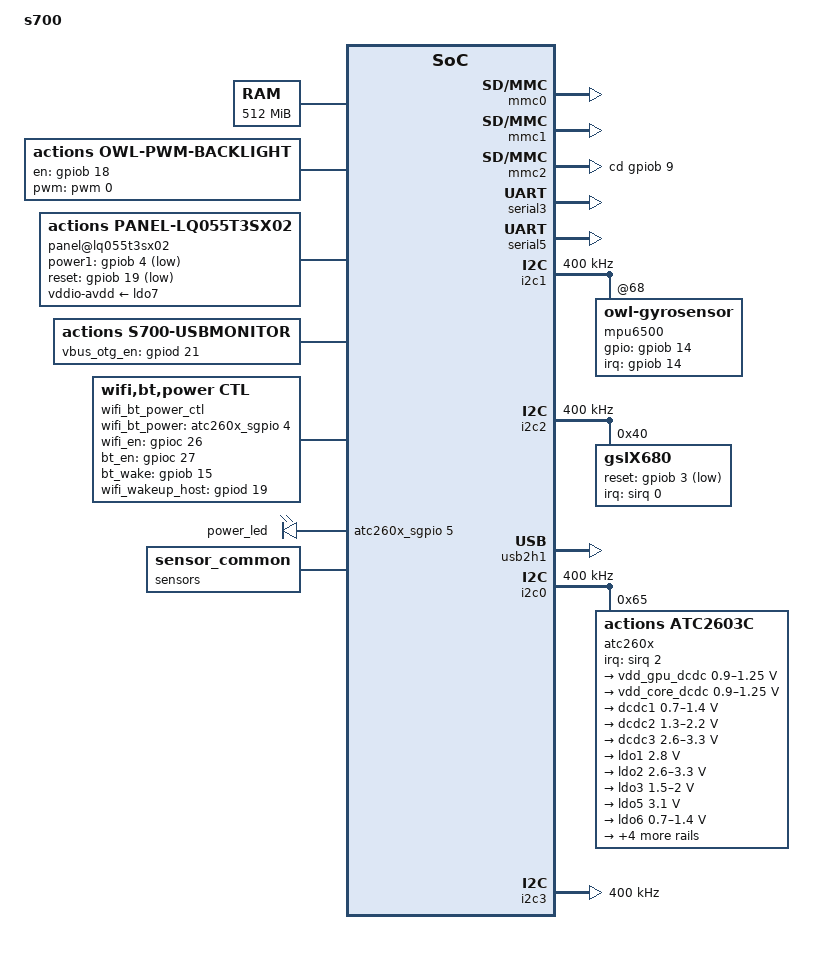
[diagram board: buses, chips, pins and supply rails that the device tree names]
/*
 * Copyright (C) 2014 Actions Semi. Inc
 *
 * This program is free software; you can redistribute it and/or
 * modify it under the terms of the GNU General Public License as
 * published by the Free Software Foundation version 2.
 *
 * This program is distributed "as is" WITHOUT ANY WARRANTY of any
 * kind, whether express or implied; without even the implied warranty
 * of MERCHANTABILITY or FITNESS FOR A PARTICULAR PURPOSE.  See the
 * GNU General Public License for more details.
 */

/dts-v1/;

/* reserve 48MB for logo(fb) */
/memreserve/ 0x19000000 0x03000000;

/* reserve 430MB for ion1(pmem) */
/memreserve/ 0x20000000 0x1AE00000;

/* reserve 4k for afinfo */
/memreserve/ 0x18FFF000 0x1000;

#include "s700.dtsi"

/ {
	model = "s700";
	compatible = "actions,s700";

	chosen {
		bootargs="fb_logo_reserve=0x19000000,0x03000000 console=ttyS3,115200 earlyprintk=serial-owl,0xe0126000 no_console_suspend";
	};

	memory@00000000 {
		device_type = "memory";
		reg = <0 0x00000000 0 0x20000000>;
	};

	ion_config {
		compatible = "actions,s900-ion";
		actions,ion_heap_pmem_base = <0x0 0x20000000>;
		actions,ion_heap_pmem_size = <0x0 0x1AE00000>;
	};

	mmc0: mmc@e0218000 {
		card-type = "emmc";
		status = "okay";
	};

	mmc1: mmc@e0214000 {
		card-type = "wifi";
		//wifi-card-voltage = "1.8v";  /* only: "1.8v", "3.1v",5211 sd1 not support 1.8v */
		status = "okay";
	};

	mmc2: mmc@e0210000 {
		card-type = "memory";  /* only: "memory", "wifi", or "emmc" */
		card-detect-mode = "gpio";  /* only:"gpio", or "command" */
		cd-gpios = <&gpiob 9 0>; /*hr280ac GPIOB9 */
		sd_vcc = "switch1";
		status = "okay";
	};

	serial3: uart@e0126000 {
		dmas = <&dma DMA_DRQ_UART3_TX>, <&dma DMA_DRQ_UART3_RX>;
		dma-names = "tx", "rx";
		status = "okay";
	};
	serial5: uart@e012a000 {
		status = "okay";
	};

	i2c1: i2c@e0174000 {
		clock-frequency = <400000>;
		status = "okay";
		mpu6500@68 {
		compatible = "owl-gyrosensor";
		interrupt-parent = <&gpiob>;
		interrupts = <14>;
		gpios = <&gpiob 14 0>; 
		i2c_adapter_id = <1>;
		/*gyro_vcc = "ldo7";*/
		/*vol_range = <1800000 1810000>;*/
		MASTER_inv6500_position = "-4";
		SECONDARY_ak8963c_position = "-4";
		};
	};

	i2c2: i2c@e0178000 {
	        i2c_num = <2>;
                clock-frequency = <400000>;
		status = "okay";
                gslX680@40 {
                       compatible = "gslX680";
                       reg = <0x40>;
                       tp_vcc = "ldo5";
                       reset_gpios = <&gpiob 3 1>; /*GPIOB(3) 0: reset or sleep, 1: wakeup*/
                       x_pixel = <1920>;
                       y_pixel = <1080>;
                       x_revert_en = <1>;
                       y_revert_en = <0>;
                       xy_swap_en = <0>;
                       rotate_degree = <0>;     /* 0 90 180 270 */
                       interrupt-parent = <&sirq>; 
                       interrupts = < 0 0x4 >; /*SIRQ0 : multiplex GPIOA24*/
                       vol_range = <3100000 3100000>;
               };
	};


	pwm: pwm@e01b0000 {
		pwm0 {
			id = <0>;
			pinctrl-names = "default";
			pinctrl-0 = <&pwm0_state_default>;
		};
		pwm1 {
			id = <1>;
			pinctrl-names = "default";
			pinctrl-0 = <&pwm1_state_default>;
		};
		pwm2 {
			id = <2>;
			pinctrl-names = "default";
			pinctrl-0 = <&pwm2_state_default>;
		};
	};

	backlight {
		compatible = "actions,owl-pwm-backlight";

		/* GPIOB18, active high */
		en-gpios = <&gpiob 18 0>;

		/*1.pwm num; 2. period in ns; */
		/*3.plarity, 0: high active, 1: low active*/
		pwms = <&pwm 0 50000 1>;

		total_steps = <1024>;
		min_brightness = <200>;
		max_brightness = <1000>;
		dft_brightness = <500>;

		delay_bf_pwm = <0>; /*in ms*/
		delay_af_pwm = <20>; /*in ms*/
	};

	dsi: dsi@e0310000 {
		compatible = "actions,s700-dsi", "simple-bus";
		reg = <0 0xe0310000 0 0x88>,
		      <0 0xe0168000 0 0x100>;
		reg-names = "regs", "cmu_base";

		clocks = <&clock CLK_DSI>, <&clock CLK_CSI>;
		clock-names = "dsi", "csi";

		resets = <&reset RESET_DSI>;

		pinctrl-names = "default";
		pinctrl-0 = <&dsi_state_default>;

		panel_configs = <&config0>;

		config0: mipi_configs {
			lcd_mode = <1>;		/* 0: command mode 1: video mode */
			lane_count = <4>;	/* 0: 1, 1: 1~2, 2: 1~3, 3: 1~4 */
			lane_polarity = <0>;	/* 0: normal,1: reversed */
			lane_swap = <0x3210>;	/* sequence of data lines */

			burst_bllp = <60>;	/* 0 ~ 333, just burst mode needed,
						 * It will affect the frame rate */
			video_mode = <0>;	/* 0:sync mode,1:de mode,2:burst mode */
			pclk_rate = <137>;	/* 37MHz, HSCLK, divider X */
		};

		/* sharp lq055t3sx02 */
		panel@lq055t3sx02 {
			compatible = "actions,panel-lq055t3sx02";

			/* panel's fixed info */
			width_mm = <68>;
			height_mm = <121>;
			bpp = <24>;

			is_primary = <1>;

			/* operation delay in ms */
			power_on_delay = <10>;
			power_off_delay = <0>;
			enable_delay = <10>;
			disable_delay = <0>;

			vddio-avdd-supply = <&ldo7>;	/* 1.8v,	control panel VDDIO */
			power1-gpio = <&gpiob 4 1>;	/* low active,	control panel VSP */
			reset-gpio = <&gpiob 19 1>;	/* low active, 	control panel reset*/
			/* screen init command info */
			mipi_cmd = <0x00FF1500 0x01FB1500 0x00FF1500 0x08D31500 0x0ED41500>;

			videomode-0 = <&mode0>;
			mode0: videomode {
				refresh_rate = <60>;

				xres = <1080>;
				yres = <1920>;

				/* in pico second, 0.000 000 000 001s */
				pixel_clock = <7299>;

				hsw = <8>;
				hbp = <16>;
				/*if the burst mode transmission, hfp includ burst_bllp*/
				hfp = <72>;

				vsw = <2>;
				vbp =<6>;
				/* vfp can be as small as possible,
				 * it related to preline time */
				vfp = <14>;

				/* 0: FB_VMODE_NONINTERLACED, 1:FB_VMODE_INTERLACED */
				vmode = <0>;
			};
		};
	};

/*
	ethernet_gpio_regulator: ethernet_gpio_regulator {
		compatible = "regulator-fixed";
		regulator-name = "ethernet_gpio_regulator";
		regulator-min-microvolt = <3300000>;
		regulator-max-microvolt = <3300000>;
		gpio = <&gpioc 21 0>;
		enable-active-high;
	};
*/

/*
	ethernet@e0220000 {
		pinctrl-names = "default";
		pinctrl-0 = <&ethernet_state_default>;
		random-mac-address = "okay";
		//local-mac-address = [ 00 18 fe 66 66 66 ];
		phy-mode = "rgmii";
		phy-handle = <&phy0>;
		phy-power-en = "ethernet_gpio_regulator";
		phy-reset-gpios = <&gpioc 20 0>; 	// GPIOC20 active  1:low  0:high

		phy-addr = "1";
		address-bits = <48>;

		max-frame-size = <1518>;

		status = "disabled";

		phy0: ethernet-phy@0 {
			compatible = "RTL8211E,rtl8211e";	// rtl8211-1000M
			reg = <0>;
		};
	};
*/
	monitor {
		compatible = "actions,s700-usbmonitor";
		detect_type = <3>; /* config what to detect, 0:DISABLE ; 1:DEVICE_ONLY; 2:HOST_ONLY; 3: HOST_AND_DEVICE*/
		idpin_type   = <0>; /* 0:use ic's idpin;      1:soft idpin,##no support!##;       2:gpio idpin,use gpio to detect,need to add a "idpin_gpio" configuration */
		vbus_type   = <2>; /* 0:use ic's vbuspin; 1:gpio vbus,##no support!## ;      2:use dc5v to detect vbus level*/

		/*vbus_otg_en_gpio is use to turn on/off otg vbus,it's different from vbus detect gpio;*/
		vbus_otg_en_gpios = <&gpiod 21 0>;  /* GPIO21,  1: low active; 0: high active */
		//idpin_gpio = <&gpiob 31 1>;   /*if idpin detect by gpio,config the gpio to GPIOB31, input,0: low active; 1: high active*/
		status = "okay";
	};

	owl_usb_config {
		compatible = "actions,owl-usb-config";
		usb_serialnumber_config = <1>; /* config serialnumber string format, 0: fixed serial no in ascii format; 1: fixed serial no in unicode format; 2:non-fixed serial no in unicode format*/
		usb_hs_output_strength = <3>; /*defaut:3,range:0~7; 0:min,7:max;usb high speed(2.0)transmitter output strength*/
		status = "okay";
	};

 	usb2h0: usb@e01d0000 {
		port_host_plug_detect = <0>; /*0:disable 1:enable detect and vbus contrl 2:only detect 3:enable detect and usb0 and usb1 use the same gpio*/
		status = "disabled";
	};

	usb2h1: usb@e01d8000 {
		//vbus_otg_en_gpio =<&gpiod 20 0>; /*GPIO D20 1:high enable vubs,0:low enable vbus*/
		port_host_plug_detect = <2>; /*0:disable,for wifi/bt module 1:enable detect and vbus contrl 2:only detect 3:enable detect and usb0 and usb1 use the same gpio*/
		status = "okay";
	};

	owl_aotg_config {
                compatible = "actions,owl-aotg-config";
                usb_cam_shield1 = "e01d0000";
                usb_cam_shield2 = "e01d8000";
        };

	wifi_bt_power_ctl {
		compatible = "wifi,bt,power,ctl";
		wifi_bt_power_gpios = <&atc260x_sgpio 4 0>;  		/* SGPIO4, high active */
		wifi_en_gpios= <&gpioc 26 0>;				/* GPIOC26, high active */
		bt_en_gpios = <&gpioc 27 0>; 				/* GPIOC27, high active */
		bt_wake_gpio = <&gpiob 15 0>; 				/* GPIOB15 */
		wifi_wakeup_host_gpios = <&gpiod 19 0>; 	/* GPIOD19 */
	};

		i2c0: i2c@e0170000 {
		i2c_num = <0>;
		clock-frequency = <400000>;
		status = "okay";
		/* atc2603c (5307) */
		atc260x: atc2603c@65 {
			compatible = "actions,atc2603c";
			reg = <0x65>;
			interrupt-parent = <&sirq>;
			interrupts =< 2 0x4 >;
			interrupt-controller;
			#interrupt-cells = <1>;

			losc_32k_output_enable = <1>;    /* enable/disable output 32.768K clock via I2S_MCLK1 pin */
			losc_32k_output_voltage = <18>;  /* select voltage scale of the 32.768K clock output, 18:1.8v, 31:3.1v */
			icm_ohm = <20>;
			pm {
				compatible = "actions,atc2603c-pm";
			};

			onoff {
				compatible = "actions,atc2603c-onoff";
			};

			rtc{
				compatible = "actions,atc2603c-rtc";
			};

			atc260x_gpio: atc260x_gpio {
				compatible = "actions,atc2603c-gpio";
				gpio-controller;
				#gpio-cells = <2>;
			};

			atc260x_sgpio: atc260x_sgpio {
				compatible = "actions,atc2603c-sgpio";
				gpio-controller;
				#gpio-cells = <2>;
				interrupt-controller;
				#interrupt-cells = <2>;
			};

			atc260x-adckeypad{
#define KEY_HOME				172
#define KEY_MENU				139
#define KEY_BACK				158
#define KEY_VOLUMEDOWN				114
#define KEY_VOLUMEUP				115
				keymapsize = <4>;                   /* number of ADC key */
				filter_dep = <3>;                   /* depth of the moving average filter (length of filter queue) */
				variance = <10>;                    /* filter will not output until the difference between every two ADC samples in the filter queue goes below this value */
				poll_interval =  <10>;              /* sample period, in ms */
				left_adc_val =  <0 158 256 360>;     /* for key code translator, each value defines a lower bound of ADC value of a key */
				right_adc_val = <158 256 360 460>;   /* for key code translator, each value defines a upper bound of ADC value of a key */
				key_val = <KEY_VOLUMEUP KEY_VOLUMEDOWN KEY_BACK KEY_MENU>; /* for key code translator, each value defines the key_code of a key */
				adc_channel_name = "AUX0";          /* the ADC channel used for sampling, valid names are REMCON AUX0 AUX1 AUX2 (AUX3) */
				compatible = "actions,atc2603c-adckeypad";
				status = "okay";                /* enable/disable ADC key function (okay or disabled) */
			};

			/*the cfg params must be read	in the first installed ko,
			 now snd-soc-atv5302.ko is first installed.
			 1, earphone_detect_level use the third value of earphone_gpios
			 2, commonly, we shouldn't change the value of speaker_gain and earphone_gain*/
			atc260x-audio{
				compatible = "actions,atc2603c-audio";
				status = "okay";
				pinctrl-names = "default";
				pinctrl-0 = <&i2s0_state_default>;
				clocks = <&clock CLK_AUDIO_PLL>, <&clock CLK_HDMI_AUDIO>;//
				clock-names = "audio_pll", "hdmia";//
				earphone_detect_gpios = <&gpiob 16 0>; /*GPIOB16 0:low vol when plug in, 1:high vol when plug in*/
				speaker_en_gpios = <&gpiod 30 0>; /*GPIOD(30) 0: high, 1: low*/
				earphone_output_mode = <1>; /*0: direct mode, 1: undirect mode*/
				mic_num = <1>; /*just suport 1, 2*/
				mic0_gain = < 0x7 0x7 >; /*<Lchannel,Rchannel> [0x0~0xF]*/
				speaker_gain = < 0xaa 0xaa >; /*<Lchannel,Rchannel>[0x00~0xbebe]*/
				earphone_gain = < 0xbe 0xbe >; /*<Lchannel,Rchannel>[0x00~0xbebe]*/
				mic_mode = <2>; /* 1: differential,  2: single end*/
				speaker_volume = < 0x28 0x28 >; /*volume [0x00~0x28]*/
				earphone_volume = < 0x28 0x28 >; /*volume [0x00~0x28]*/
				earphone_detect_method = <0>; /*0:gpio, 1:irq, 2:adc*/
				adc_plugin_threshold = <850>; /*adc earphone detect plugin threshold value*/
				adc_level = <0>; /*adc plugin level, 1:high vol when plugin; 0:low vol when plug in*/
			};

			atc260x-hwmon{
				compatible = "actions,atc2603c-hwmon";
			};

			atc260x-charger{
				compatible = "actions,atc2603c-charger";
				rsense = <20>;/*unit:mohm*/
				bat_type = <1>;/*0:4.18v; 1:4.2v; 2:4.3v; 3:4.35v*/
				bl_on_current_usb_pc = <200>;
				bl_off_current_usb_pc = <400>;
				bl_on_current_usb_adp = <400>;
				bl_off_current_usb_adp = <1000>;
				bl_on_current_wall_adp = <400>;
				bl_off_current_wall_adp = <1400>;
				support_adaptor_type = <2>; /*1: DCIN  2: USB  3:DCIN+USB*/
				ext_charger = <0>;
				usb_adapter_as_ac = <1>;/*0:usb ada keep itself; 1:usb ada used as DCIN when usb plug and batv<3.3v during minicharge*/
				usb_pc_ctl_mode = <1>; /*0:disable vbus ctl;1:current limited;2:voltage limited*/
				wall_switch = <&gpioa 25 0>;/*GPIOA25,0: high, 1: low*/
			};

			
			atc2603c-battery{
				compatible = "actions,atc2603c-battery";
				capacity = < 4000 >;                              /*mAh, the full capacity of battery used*/
				taper_voltage = < 4180 >;                         /*mV,the one close to the full capacity*/
				taper_current = <300>; 
				min_over_chg_protect_voltage = < 4275 >;				/*mA,the one close to the full capacity*/
				terminal_voltage = <3400>;                        /*mV,the lowest voltage of battery permitted*/
				suspend_current = < 17000 >;                       /* uA,the current of suspend*/
				shutdown_current = < 50 >;                        /* uA,the current of shutdown*/
				print_switch = <0>;                               /*0:open the switch of printing information 1:the opposite*/
				log_switch = <0>;                                 /*0:open the switch of recording charging log 1:the opposite*/
				
				ocv_soc_00 = <3477 3534 3591 3624 3637 3649 3661 3667 3673 3677>;    	 /* capacity:from 1% to 10%*/
				ocv_soc_10 = <3682 3685 3690 3693 3700 3706 3712 3716 3722 3728 >;	 /* capacity:from 11% to 20%*/
				ocv_soc_20 = <3732 3736 3739 3744 3747 3751 3755 3758 3761 3765>;	 /* capacity:from 21% to 30%*/
				ocv_soc_30 = <3768 3771 3775 3777 3782 3784 3788 3791 3793 3794 >;	 /* capacity:from 31% to 40%*/
				ocv_soc_40 = <3800 3801 3804 3807 3812 3815 3819 3823 3825 3830>;	 /* capacity:from 41% to 50%*/
				ocv_soc_50 = <3834 3838 3841 3845 3850 3854 3858 3864 3870 3874>;	 /* capacity:from 51% to 60%*/
				ocv_soc_60 = <3880 3889 3895 3902 3908 3916 3926 3933 3940 3947>;	 /* capacity:from 61% to 70%*/
				ocv_soc_70 = <3954 3961 3968 3972 3979 3985 3992 3997 4005 4012>;	 /* capacity:from 71% to 80%*/
				ocv_soc_80 = <4019 4028 4036 4046 4054 4061 4068 4075 4084 4090>;	 /* capacity:from 81% to 90%*/
				ocv_soc_90 = <4099 4107 4115 4126 4132 4141 4152 4160 4170 4180>;	 /* capacity:from 91% to 100%*/
				
			};

			vdd_gpu_dcdc: vdd-gpu-dcdc {
				compatible = "actions,atc2603c-ext-pwm-dcdc1","actions,atc2603c-ext-pwm-dcdc";
				regulator-name = "vdd-gpu-dcdc";
				regulator-min-microvolt  = <900000>;
				regulator-max-microvolt = <1250000>;
				regulator-always-on;
				pwms = <&pwm 2 2666 0>;	// 1-pwm1   2666-1/(24M/64)*1000000-1   0 -active high
				table_len = < 8 >;			//length of vdd_cpu_table & pwm_config_table
				vdd_cpu_table = <1050000 1075000 1100000 1125000 1150000 1175000 1200000 1250000>;	//uV
				pwm_config_table = <42 37 31 26 20 14 9 0>;
			};

			vdd_core_dcdc: vdd-core-dcdc {
				compatible = "actions,atc2603c-ext-pwm-dcdc2","actions,atc2603c-ext-pwm-dcdc";
				regulator-name = "vdd-core-dcdc";
				regulator-min-microvolt  = <900000>;
				regulator-max-microvolt = <1250000>;
				regulator-always-on;
				pwms = <&pwm 1 2666 0>;	// 1-pwm1   2666-1/(24M/64)*1000000-1   0 -active high
				table_len = < 5 >;			//length of vdd_cpu_table & pwm_config_table
				vdd_cpu_table = <1100000 1125000 1150000 1175000 1200000>;	//uV
				pwm_config_table = <55 43 33 18 13>;
			};

			dcdc1: dcdc1 {
				compatible = "actions,atc2603c-dcdc1","actions,atc2603c-dcdc";
				regulator-name = "dcdc1";
				regulator-min-microvolt = <700000>;
				regulator-max-microvolt = <1400000>;
				regulator-always-on;
			};

			dcdc2: dcdc2 {
				compatible = "actions,atc2603c-dcdc2","actions,atc2603c-dcdc";
				regulator-name = "dcdc2";
				regulator-min-microvolt = <1300000>;
				regulator-max-microvolt = <2200000>;
				regulator-always-on;
			};

			dcdc3: dcdc3 {
				compatible = "actions,atc2603c-dcdc3","actions,atc2603c-dcdc";
				regulator-name = "dcdc3";
				regulator-min-microvolt = <2600000>;
				regulator-max-microvolt = <3300000>;
				regulator-always-on;
			};

			dcdc4: dcdc4 {
				status = "disabled";
			};

			dcdc5: dcdc5 {
				status = "disabled";
			};

			ldo1: ldo1{
				compatible = "actions,atc2603c-ldo1","actions,atc2603c-ldo";
				regulator-name = "ldo1";
				regulator-min-microvolt  = <2800000>;
				regulator-max-microvolt = <2800000>;
				regulator-always-on;
			};

			ldo2: ldo2{
				compatible = "actions,atc2603c-ldo2","actions,atc2603c-ldo";
				regulator-name = "ldo2";
				regulator-min-microvolt  = <2600000>;
				regulator-max-microvolt = <3300000>;
				regulator-always-on;
			};

			ldo3: ldo3{
				compatible = "actions,atc2603c-ldo3","actions,atc2603c-ldo";
				regulator-name = "ldo3";
				regulator-min-microvolt  = <1500000>;
				regulator-max-microvolt = <2000000>;
				regulator-always-on;
			};

			ldo4: ldo4{
				status = "disabled";
			};

			ldo5: ldo5{
				compatible = "actions,atc2603c-ldo5","actions,atc2603c-ldo";
				regulator-name = "ldo5";
				regulator-min-microvolt  = <3100000>;
				regulator-max-microvolt = <3100000>;
				regulator-always-on;
				regulator-suspend-off;
			};

			ldo6: ldo6{
				compatible = "actions,atc2603c-ldo6","actions,atc2603c-ldo";
				regulator-name = "ldo6";
				regulator-min-microvolt  = <700000>;
				regulator-max-microvolt = <1400000>;
				regulator-always-on;
			};

			ldo7: ldo7{
				compatible = "actions,atc2603c-ldo7","actions,atc2603c-ldo";
				regulator-name = "ldo7";
				regulator-min-microvolt  = <1800000>;
				regulator-max-microvolt = <1800000>;
			};

			ldo8: ldo8{
				compatible = "actions,atc2603c-ldo8","actions,atc2603c-ldo";
				regulator-name = "ldo8";
				regulator-min-microvolt  = <2300000>;
				regulator-max-microvolt = <3300000>;
			};

			ldo9: ldo9{
				status = "disabled";
			};

			ldo10: ldo10{
				status = "disabled";
			};

			ldo11: ldo11{
				compatible = "actions,atc2603c-ldo11","actions,atc2603c-ldo";
				regulator-name = "ldo11";
				regulator-min-microvolt  = <2600000>;
				regulator-max-microvolt = <3300000>;
				regulator-always-on;
			};

			switch1:switch1{
				compatible = "actions,atc2603c-switch1","actions,atc2603c-switch";
				regulator-name = "switch1";
				regulator-min-microvolt  = <3000000>;
				regulator-max-microvolt = <3300000>;
				regulator-always-on;
			};

			switch2:switch2{
				status = "disabled";
			};
		};
	};

	i2c3: i2c@e017c000 {
		i2c_num = <3>;
		clock-frequency = <400000>;
		status = "okay";
	};

	leds-gpio{
		compatible = "gpio-leds";
		power-on {
			gpios = <&atc260x_sgpio 5 0>;/*SGPIO(5) 0: high, 1: low*/
			label = "power_led";
			default-state = "on";
			linux,default-trigger = "power-on";
		};
	};	
	
//	isp0: isp@0xe0268000 {
//			mirror_flip = <3>;  /* bit-0:rear camera; bit-1:front camera; 0: no flip,no mirror; 1: no flip,horizontal mirror; 2:vertical flip,no mirror; 3: vertical flip,horizontal mirror */

//			avdd-src = "regulator";  /* only: "gpio", "regulator" */
//		        avdd-regulator = "ldo1"; /* only when vbus-src is "regulator" */
//		        avdd-regulator-scope = <2800000 2810000>;  /* uV */
//		        dvdd-regulator = "ldo7";
//		        dvdd-regulator-scope = <1800000 1810000>;  /* uV */

//			board_type = "evb";/* "ces" or "evb"*/
//			sensors = "dual"; /* "dual", "front" or "rear" */
//			pwdn-rear-gpios = <&gpioc 17 1>; /* GPIOA27 */
//			pwdn-front-gpios = <&gpioc 15 1>; /* GPIOA26 */
//			reset-gpios = <&gpioc 16 1>; /*GPIOB15*/
//			pinctrl-names = "default";
//			pinctrl-0 = <&isp0_state_csi_dvp>;

//			status = "okay"; /* create platform-device */
//		};

		sensors: isp-sensor {
			compatible = "sensor_common";
			i2c_adapter = <&i2c2>; /* 0-3 begin from enabled ones */

			status = "okay";
		};

		thermal0: thermal@e01b00f0 {
			compatible = "actions,gt7-thermal";
			reg = <0 0xe01b00f0 0 0x04>;
			id = <0>;
			//clocks = <&clock CLK_THERMAL_SENSOR>;
			clocks = <&clock CLK_THERMAL_SENSOR>;
			clock-names = "thermal_sensor";
		};

	gpu@e0340000 {
		default_freq = <400>;

		operating-points = <240000 1050000
                            320000 1100000
                            400000 1125000>;
        gpuvdd-supply = <&vdd_gpu_dcdc>;
    };
};
